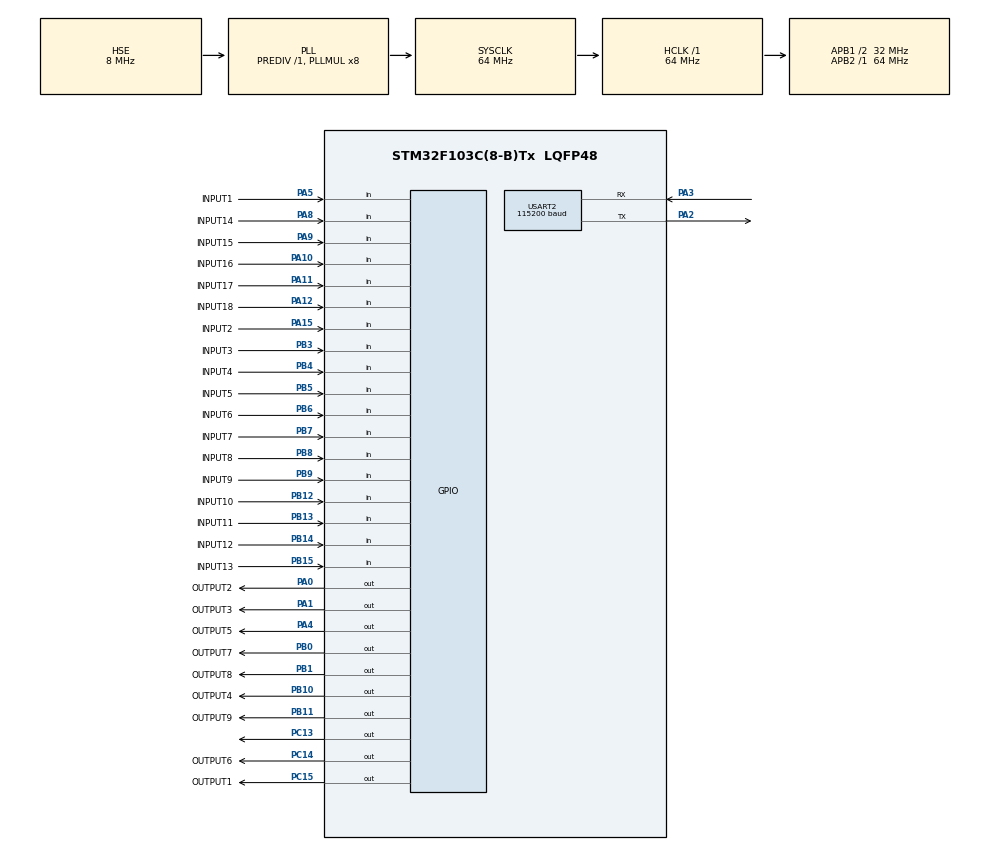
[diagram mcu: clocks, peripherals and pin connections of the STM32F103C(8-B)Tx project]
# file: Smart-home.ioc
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Mcu.Family=STM32F1
Mcu.Name=STM32F103C(8-B)Tx
Mcu.Package=LQFP48
NVIC.PriorityGroup=NVIC_PRIORITYGROUP_4
PA0-WKUP.GPIO_Label=OUTPUT2
PA0-WKUP.Signal=GPIO_Output
PA1.GPIO_Label=OUTPUT3
PA1.Signal=GPIO_Output
PA10.GPIO_Label=INPUT16
PA10.Signal=GPIO_Input
PA11.GPIO_Label=INPUT17
PA11.Signal=GPIO_Input
PA12.GPIO_Label=INPUT18
PA12.Signal=GPIO_Input
PA13.Mode=Serial_Wire
PA13.Signal=SYS_JTMS-SWDIO
PA14.Mode=Serial_Wire
PA14.Signal=SYS_JTCK-SWCLK
PA15.GPIO_Label=INPUT2
PA15.Signal=GPIO_Input
PA2.Mode=Asynchronous
PA2.Signal=USART2_TX
PA3.Mode=Asynchronous
PA3.Signal=USART2_RX
PA4.GPIO_Label=OUTPUT5
PA4.Signal=GPIO_Output
PA5.GPIO_Label=INPUT1
PA5.Signal=GPIO_Input
PA8.GPIO_Label=INPUT14
PA8.Signal=GPIO_Input
PA9.GPIO_Label=INPUT15
PA9.Signal=GPIO_Input
PB0.GPIO_Label=OUTPUT7
PB0.Signal=GPIO_Output
PB1.GPIO_Label=OUTPUT8
PB1.Signal=GPIO_Output
PB10.GPIO_Label=OUTPUT4
PB10.Signal=GPIO_Output
PB11.GPIO_Label=OUTPUT9
PB11.Signal=GPIO_Output
PB12.GPIO_Label=INPUT10
PB12.Signal=GPIO_Input
PB13.GPIO_Label=INPUT11
PB13.Signal=GPIO_Input
PB14.GPIO_Label=INPUT12
PB14.Signal=GPIO_Input
PB15.GPIO_Label=INPUT13
PB15.Signal=GPIO_Input
PB3.GPIO_Label=INPUT3
PB3.Signal=GPIO_Input
PB4.GPIO_Label=INPUT4
PB4.Signal=GPIO_Input
PB5.GPIO_Label=INPUT5
PB5.Signal=GPIO_Input
PB6.GPIO_Label=INPUT6
PB6.Signal=GPIO_Input
PB7.GPIO_Label=INPUT7
PB7.Signal=GPIO_Input
PB8.GPIO_Label=INPUT8
PB8.Signal=GPIO_Input
PB9.GPIO_Label=INPUT9
PB9.Signal=GPIO_Input
PC13-TAMPER-RTC.Signal=GPIO_Output
PC14-OSC32_IN.GPIO_Label=OUTPUT6
PC14-OSC32_IN.PinState=GPIO_PIN_RESET
PC14-OSC32_IN.Signal=GPIO_Output
PC15-OSC32_OUT.GPIO_Label=OUTPUT1
PC15-OSC32_OUT.Signal=GPIO_Output
PD0-OSC_IN.Mode=HSE-External-Oscillator
PD0-OSC_IN.Signal=RCC_OSC_IN
PD1-OSC_OUT.Mode=HSE-External-Oscillator
PD1-OSC_OUT.Signal=RCC_OSC_OUT
ProjectManager.HeapSize=0x200
ProjectManager.StackSize=0x400
ProjectManager.TargetToolchain=STM32CubeIDE
RCC.AHBFreq_Value=64000000
RCC.APB1CLKDivider=RCC_HCLK_DIV2
RCC.APB1Freq_Value=32000000
RCC.APB1TimFreq_Value=64000000
RCC.APB2Freq_Value=64000000
RCC.APB2TimFreq_Value=64000000
RCC.HCLKFreq_Value=64000000
RCC.PLLMUL=RCC_PLL_MUL8
RCC.PLLSourceVirtual=RCC_PLLSOURCE_HSE
RCC.SYSCLKFreq_VALUE=64000000
RCC.SYSCLKSource=RCC_SYSCLKSOURCE_PLLCLK
RCC.USBFreq_Value=64000000
USART2.BaudRate=115200
USART2.VirtualMode=VM_ASYNC
board=custom

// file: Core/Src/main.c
/* USER CODE BEGIN Header */
/**
  ******************************************************************************
  * @file           : main.c
  * @brief          : Main program body
  ******************************************************************************
  * @attention
  *
  * Copyright (c) 2025 STMicroelectronics.
  * All rights reserved.
  *
  * This software is licensed under terms that can be found in the LICENSE file
  * in the root directory of this software component.
  * If no LICENSE file comes with this software, it is provided AS-IS.
  *
  ******************************************************************************
  */
/* USER CODE END Header */
#include "main.h"
#include "usart.h"
#include "gpio.h"

/* USER CODE BEGIN Includes */
#include "def.h"
uint8_t x;
void onoff(void){
	if(x==1)x=0;
	else x=1;

	if(1)HAL_GPIO_WritePin(OUTPUT1,x);
	if(1)HAL_GPIO_WritePin(OUTPUT2,x);
	if(1)HAL_GPIO_WritePin(OUTPUT3,x);
	if(1)HAL_GPIO_WritePin(OUTPUT4,x);
	if(1)HAL_GPIO_WritePin(OUTPUT5,x);
	if(1)HAL_GPIO_WritePin(OUTPUT6,x);
	if(1)HAL_GPIO_WritePin(OUTPUT7,x);
	if(1)HAL_GPIO_WritePin(OUTPUT8,x);
	if(1)HAL_GPIO_WritePin(OUTPUT9,x);
}
void Automatic_control_relay(void){
	if(1)HAL_GPIO_WritePin(OUTPUT1,HAL_GPIO_ReadPin(INPUT10)&& HAL_GPIO_ReadPin(INPUT1)&& !HAL_GPIO_ReadPin(INPUT2));
	if(1)HAL_GPIO_WritePin(OUTPUT2,HAL_GPIO_ReadPin(INPUT11)&& HAL_GPIO_ReadPin(INPUT2));
	if(1)HAL_GPIO_WritePin(OUTPUT3,HAL_GPIO_ReadPin(INPUT12)&& HAL_GPIO_ReadPin(INPUT3));
	if(1)HAL_GPIO_WritePin(OUTPUT4,HAL_GPIO_ReadPin(INPUT13)&& HAL_GPIO_ReadPin(INPUT4)&& !HAL_GPIO_ReadPin(INPUT5));
	if(1)HAL_GPIO_WritePin(OUTPUT5,HAL_GPIO_ReadPin(INPUT14)&& HAL_GPIO_ReadPin(INPUT5));
	if(1)HAL_GPIO_WritePin(OUTPUT6,HAL_GPIO_ReadPin(INPUT15)&& HAL_GPIO_ReadPin(INPUT6));
	if(1)HAL_GPIO_WritePin(OUTPUT7,HAL_GPIO_ReadPin(INPUT16)&& HAL_GPIO_ReadPin(INPUT7)&& !HAL_GPIO_ReadPin(INPUT8));
	if(1)HAL_GPIO_WritePin(OUTPUT8,HAL_GPIO_ReadPin(INPUT17)&& HAL_GPIO_ReadPin(INPUT8));
	if(1)HAL_GPIO_WritePin(OUTPUT9,HAL_GPIO_ReadPin(INPUT18)&& HAL_GPIO_ReadPin(INPUT9));
	}
void reltest(void){
	x=500;
	HAL_GPIO_WritePin(OUTPUT1,1);
	HAL_Delay(x);
	HAL_GPIO_WritePin(OUTPUT1,0);
	HAL_GPIO_WritePin(OUTPUT2,1);
	HAL_Delay(x);
	HAL_GPIO_WritePin(OUTPUT2,0);
	HAL_GPIO_WritePin(OUTPUT3,1);
	HAL_Delay(x);
	HAL_GPIO_WritePin(OUTPUT3,0);
	HAL_GPIO_WritePin(OUTPUT4,1);
	HAL_Delay(x);
	HAL_GPIO_WritePin(OUTPUT4,0);
	HAL_GPIO_WritePin(OUTPUT5,1);
	HAL_Delay(x);
	HAL_GPIO_WritePin(OUTPUT5,0);
	HAL_GPIO_WritePin(OUTPUT6,1);
	HAL_Delay(x);
	HAL_GPIO_WritePin(OUTPUT6,0);
	HAL_GPIO_WritePin(OUTPUT7,1);
	HAL_Delay(x);
	HAL_GPIO_WritePin(OUTPUT7,0);
	HAL_GPIO_WritePin(OUTPUT8,1);
	HAL_Delay(x);
	HAL_GPIO_WritePin(OUTPUT8,0);
	HAL_GPIO_WritePin(OUTPUT9,1);
	HAL_Delay(x);
	HAL_GPIO_WritePin(OUTPUT9,0);
	HAL_GPIO_TogglePin(LED);
}

/* USER CODE END Includes */

void SystemClock_Config(void);

int main(void)
{

  /* MCU Configuration--------------------------------------------------------*/

  /* Reset of all peripherals, Initializes the Flash interface and the Systick. */
  HAL_Init();

  /* Configure the system clock */
  SystemClock_Config();

  /* Initialize all configured peripherals */
  MX_GPIO_Init();
  MX_USART2_UART_Init();
  /* USER CODE BEGIN 2 */
  uint8_t myValue=0;
  /* USER CODE END 2 */

  /* Infinite loop */
  /* USER CODE BEGIN WHILE */
	while(1){
		//Automatic_control_relay();
		/*onoff();
		HAL_Delay(1000);
		if(++myValue>100){
			myValue=0;
			HAL_GPIO_TogglePin(LED);
		}*/
		reltest();

    /* USER CODE END WHILE */

  }
}

void SystemClock_Config(void)
{
  RCC_OscInitTypeDef RCC_OscInitStruct = {0};
  RCC_ClkInitTypeDef RCC_ClkInitStruct = {0};

  /** Initializes the RCC Oscillators according to the specified parameters
  * in the RCC_OscInitTypeDef structure.
  */
  RCC_OscInitStruct.OscillatorType = RCC_OSCILLATORTYPE_HSE;
  RCC_OscInitStruct.HSEState = RCC_HSE_ON;
  RCC_OscInitStruct.HSEPredivValue = RCC_HSE_PREDIV_DIV1;
  RCC_OscInitStruct.HSIState = RCC_HSI_ON;
  RCC_OscInitStruct.PLL.PLLState = RCC_PLL_ON;
  RCC_OscInitStruct.PLL.PLLSource = RCC_PLLSOURCE_HSE;
  RCC_OscInitStruct.PLL.PLLMUL = RCC_PLL_MUL8;
  if (HAL_RCC_OscConfig(&RCC_OscInitStruct) != HAL_OK)
  {
    Error_Handler();
  }

  /** Initializes the CPU, AHB and APB buses clocks
  */
  RCC_ClkInitStruct.ClockType = RCC_CLOCKTYPE_HCLK|RCC_CLOCKTYPE_SYSCLK
                              |RCC_CLOCKTYPE_PCLK1|RCC_CLOCKTYPE_PCLK2;
  RCC_ClkInitStruct.SYSCLKSource = RCC_SYSCLKSOURCE_PLLCLK;
  RCC_ClkInitStruct.AHBCLKDivider = RCC_SYSCLK_DIV1;
  RCC_ClkInitStruct.APB1CLKDivider = RCC_HCLK_DIV2;
  RCC_ClkInitStruct.APB2CLKDivider = RCC_HCLK_DIV1;

  if (HAL_RCC_ClockConfig(&RCC_ClkInitStruct, FLASH_LATENCY_2) != HAL_OK)
  {
    Error_Handler();
  }
}

void Error_Handler(void)
{
  __disable_irq();
  while(1){
  }
}
